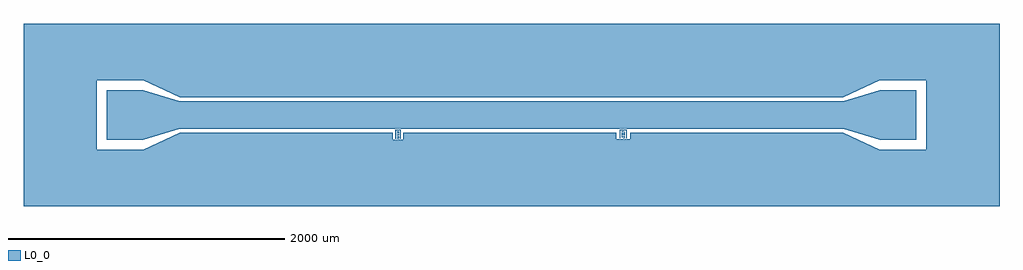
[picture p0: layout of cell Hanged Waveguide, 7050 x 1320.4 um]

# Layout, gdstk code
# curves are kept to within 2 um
import gdstk
lib = gdstk.Library(unit=1e-6, precision=1e-09)
def P(c, l, *ps):  # polygons
    for p in ps: c.add(gdstk.Polygon(p, *l))
L0_0 = (0, 0)

hanged_waveguide = lib.new_cell('Hanged Waveguide')
P(hanged_waveguide, L0_0, [(4344,-554.2),(4344,766.2),(-2706,766.2),(-2706,-144),(-2176,-144),(-2176,356),(-1841,356),(-1576,236),(3214,236),(3479,356),(3814,356),(3814,-144),(3479,-144),(3214,-24),(1676,-24),(1676,-68.5),(1576,-68.5),(1576,-24),(38,-24),(38,-74.2),(-38,-74.2),(-38,-24),(-1576,-24),(-1841,-144),(-2706,-144),(-2706,-554.2)],
  [(-1576,6),(3214,6),(3479,-74),(3744,-74),(3744,286),(3479,286),(3214,206),(-1576,206),(-1841,286),(-2106,286),(-2106,-74),(-1841,-74)],
  [(-19,-66.85),(-15,-66.85),(-15,-4),(15,-4),(15,-66.85),(19,-66.85),(19,0),(-19,0)],
  [(0.25,-4),(-0.25,-4),(-0.25,-11.35),(-7.4,-11.35),(-7.4,-11.35),(-7.4,-16.85),(-7.4,-16.85),(0,-16.85),(6.9,-16.85),(6.9,-21.35),(0,-21.35),(-7.4,-21.35),(-7.4,-21.35),(-7.4,-26.85),(-7.4,-26.85),(0,-26.85),(6.9,-26.85),(6.9,-31.35),(0,-31.35),(-7.4,-31.35),(-7.4,-31.35),(-7.4,-36.85),(-7.4,-36.85),(0,-36.85),(6.9,-36.85),(6.9,-41.35),(0,-41.35),(-7.4,-41.35),(-7.4,-41.35),(-7.4,-46.85),(-7.4,-46.85),(0,-46.85),(6.9,-46.85),(6.9,-51.35),(0,-51.35),(-7.4,-51.35),(-7.4,-51.35),(-7.4,-56.85),(-7.4,-56.85),(0,-56.85),(6.9,-56.85),(6.9,-61.35),(0,-61.35),(-7.4,-61.35),(-7.4,-61.35),(-7.4,-66.85),(-7.4,-66.85),(-0.25,-66.85),(-0.25,-74.2),(0.25,-74.2),(0.25,-66.35),(0.25,-66.35),(-6.9,-66.35),(-6.9,-61.85),(0,-61.85),(7.4,-61.85),(7.4,-61.85),(7.4,-56.35),(7.4,-56.35),(0,-56.35),(-6.9,-56.35),(-6.9,-51.85),(0,-51.85),(7.4,-51.85),(7.4,-51.85),(7.4,-46.35),(7.4,-46.35),(0,-46.35),(-6.9,-46.35),(-6.9,-41.85),(0,-41.85),(7.4,-41.85),(7.4,-41.85),(7.4,-36.35),(7.4,-36.35),(0,-36.35),(-6.9,-36.35),(-6.9,-31.85),(0,-31.85),(7.4,-31.85),(7.4,-31.85),(7.4,-26.35),(7.4,-26.35),(0,-26.35),(-6.9,-26.35),(-6.9,-21.85),(0,-21.85),(7.4,-21.85),(7.4,-21.85),(7.4,-16.35),(7.4,-16.35),(0,-16.35),(-6.9,-16.35),(-6.9,-11.85),(0.25,-11.85),(0.25,-11.85)],
  [(1601,-61.5),(1605,-61.5),(1605,-4),(1647,-4),(1647,-61.5),(1651,-61.5),(1651,0),(1601,0)],
  [(1626.25,-4),(1625.75,-4),(1625.75,-11),(1615,-11),(1615,-16.5),(1626,-16.5),(1636.5,-16.5),(1636.5,-21),(1626,-21),(1615,-21),(1615,-26.5),(1626,-26.5),(1636.5,-26.5),(1636.5,-31),(1626,-31),(1615,-31),(1615,-36.5),(1626,-36.5),(1636.5,-36.5),(1636.5,-41),(1626,-41),(1615,-41),(1615,-46.5),(1626,-46.5),(1636.5,-46.5),(1636.5,-51),(1626,-51),(1615,-51),(1615,-56.5),(1626,-56.5),(1636.5,-56.5),(1636.5,-61),(1625.75,-61),(1625.75,-68.5),(1626.25,-68.5),(1626.25,-61.5),(1637,-61.5),(1637,-56),(1626,-56),(1615.5,-56),(1615.5,-51.5),(1626,-51.5),(1637,-51.5),(1637,-46),(1626,-46),(1615.5,-46),(1615.5,-41.5),(1626,-41.5),(1637,-41.5),(1637,-36),(1626,-36),(1615.5,-36),(1615.5,-31.5),(1626,-31.5),(1637,-31.5),(1637,-26),(1626,-26),(1615.5,-26),(1615.5,-21.5),(1626,-21.5),(1637,-21.5),(1637,-16),(1626,-16),(1615.5,-16),(1615.5,-11.5),(1626.25,-11.5)])

lib.write_gds('Hanged_Waveguide.gds')
